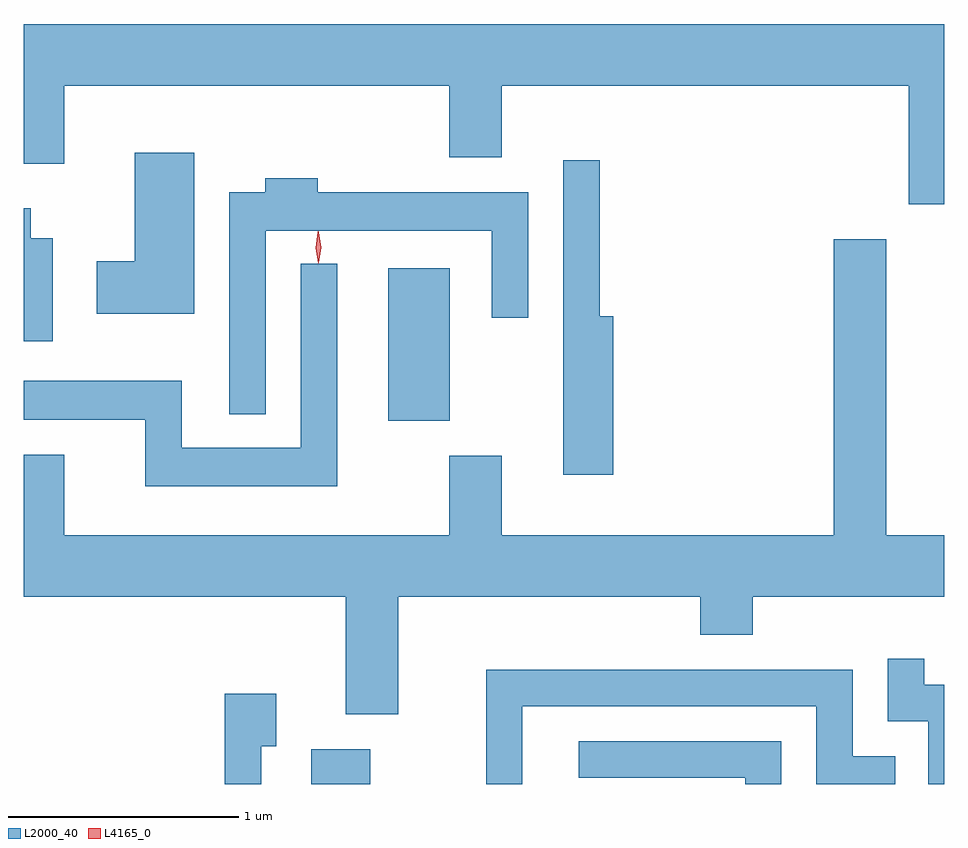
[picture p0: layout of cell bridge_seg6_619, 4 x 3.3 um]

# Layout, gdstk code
import gdstk
lib = gdstk.Library(unit=1e-6, precision=1e-09)
def R(c, l, rs):  # rectangles x0, y0, x1, y1
    for r in rs: c.add(gdstk.rectangle(r[:2], r[2:], *l))
def P(c, l, *ps):  # polygons
    for p in ps: c.add(gdstk.Polygon(p, *l))
L2000_40 = (2000, 40)
L4165_0 = (4165, 0)

bridge_seg6_619 = lib.new_cell('bridge_seg6_619')
R(bridge_seg6_619, L2000_40, [(310.011,1633.583,310.269,1633.734), (310.346,1635.161,310.614,1635.824)])
P(bridge_seg6_619, L2000_40, [(312.762,1636.884),(308.762,1636.884),(308.762,1636.276),(308.939,1636.276),(308.939,1636.616),(310.611,1636.616),(310.611,1636.306),(310.839,1636.306),(310.839,1636.616),(312.606,1636.616),(312.606,1636.101),(312.762,1636.101)],
  [(309.504,1636.324),(309.246,1636.324),(309.246,1635.854),(309.081,1635.854),(309.081,1635.626),(309.504,1635.626)],
  [(311.324,1635.614),(311.264,1635.614),(311.264,1636.293),(311.106,1636.293),(311.106,1634.926),(311.324,1634.926)],
  [(309.814,1635.986),(310.796,1635.986),(310.796,1635.608),(310.954,1635.608),(310.954,1636.154),(310.039,1636.154),(310.039,1636.214),(309.811,1636.214),(309.811,1636.154),(309.656,1636.154),(309.656,1635.188),(309.814,1635.188)],
  [(308.889,1635.954),(308.794,1635.954),(308.794,1636.084),(308.762,1636.084),(308.762,1635.506),(308.889,1635.506)],
  [(310.389,1634.396),(311.701,1634.396),(311.701,1634.231),(311.929,1634.231),(311.929,1634.396),(312.762,1634.396),(312.762,1634.664),(312.509,1634.664),(312.509,1635.949),(312.281,1635.949),(312.281,1634.664),(310.839,1634.664),(310.839,1635.009),(310.611,1635.009),(310.611,1634.664),(308.939,1634.664),(308.939,1635.014),(308.762,1635.014),(308.762,1634.396),(310.161,1634.396),(310.161,1633.886),(310.389,1633.886)],
  [(310.124,1635.843),(309.966,1635.843),(309.966,1635.044),(309.449,1635.044),(309.449,1635.334),(308.762,1635.334),(308.762,1635.166),(309.291,1635.166),(309.291,1634.876),(310.124,1634.876)],
  [(312.762,1634.014),(312.674,1634.014),(312.674,1634.128),(312.516,1634.128),(312.516,1633.856),(312.691,1633.856),(312.691,1633.583),(312.762,1633.583)],
  [(310.929,1633.921),(312.206,1633.921),(312.206,1633.583),(312.548,1633.583),(312.548,1633.704),(312.364,1633.704),(312.364,1634.079),(310.771,1634.079),(310.771,1633.583),(310.929,1633.583)],
  [(309.794,1633.746),(309.859,1633.746),(309.859,1633.974),(309.636,1633.974),(309.636,1633.583),(309.794,1633.583)],
  [(312.054,1633.769),(311.173,1633.769),(311.173,1633.611),(311.896,1633.611),(311.896,1633.583),(312.054,1633.583)])
P(bridge_seg6_619, L4165_0, [(310.041,1635.843),(310.041,1635.844),(310.031,1635.913),(310.04,1635.982),(310.041,1635.983),(310.041,1635.982),(310.051,1635.913),(310.042,1635.844)],
  [(310.045,1635.847),(310.044,1635.848),(310.035,1635.914),(310.044,1635.98),(310.045,1635.981),(310.045,1635.98),(310.055,1635.914),(310.045,1635.848)])

lib.write_gds('bridge_seg6_619.gds')
